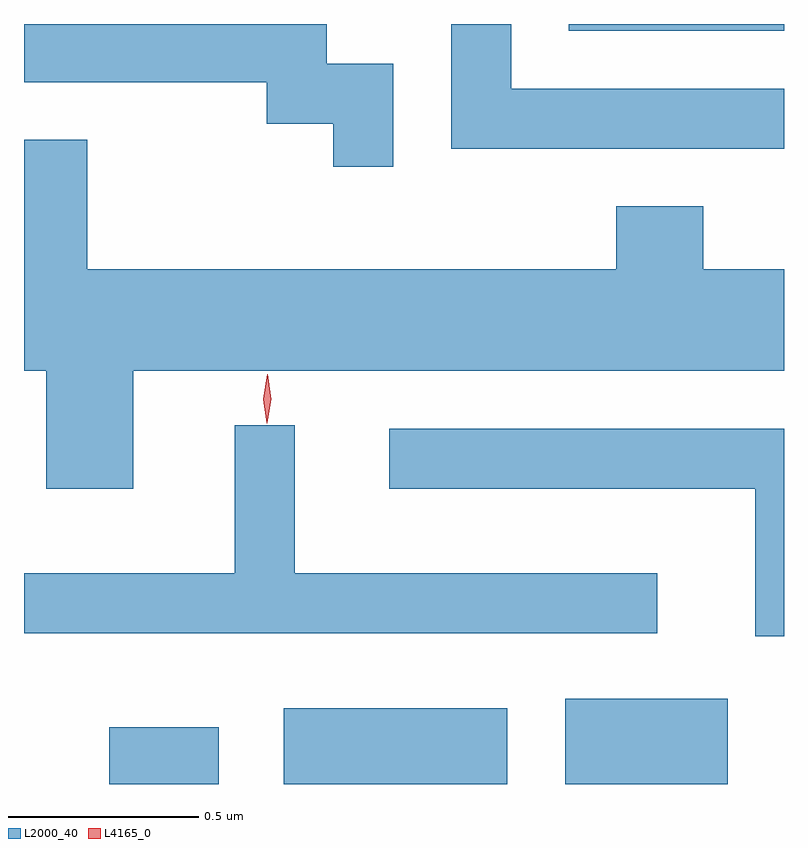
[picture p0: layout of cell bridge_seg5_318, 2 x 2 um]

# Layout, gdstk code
import gdstk
lib = gdstk.Library(unit=1e-6, precision=1e-09)
def R(c, l, rs):  # rectangles x0, y0, x1, y1
    for r in rs: c.add(gdstk.rectangle(r[:2], r[2:], *l))
def P(c, l, *ps):  # polygons
    for p in ps: c.add(gdstk.Polygon(p, *l))
L2000_40 = (2000, 40)
L4165_0 = (4165, 0)

bridge_seg5_318 = lib.new_cell('bridge_seg5_318')
R(bridge_seg5_318, L2000_40, [(730.246,1504.549,730.534,1504.699), (730.706,1504.549,731.294,1504.749), (731.446,1504.549,731.874,1504.774), (731.456,1506.531,732.022,1506.549)])
P(bridge_seg5_318, L2000_40, [(730.994,1506.444),(730.819,1506.444),(730.819,1506.549),(730.022,1506.549),(730.022,1506.396),(730.661,1506.396),(730.661,1506.286),(730.836,1506.286),(730.836,1506.173),(730.994,1506.173)],
  [(732.022,1506.379),(731.304,1506.379),(731.304,1506.549),(731.146,1506.549),(731.146,1506.221),(732.022,1506.221)],
  [(730.309,1505.636),(732.022,1505.636),(732.022,1505.904),(731.809,1505.904),(731.809,1506.069),(731.581,1506.069),(731.581,1505.904),(730.189,1505.904),(730.189,1506.244),(730.022,1506.244),(730.022,1505.636),(730.081,1505.636),(730.081,1505.326),(730.309,1505.326)],
  [(731.688,1505.104),(730.734,1505.104),(730.734,1505.493),(730.576,1505.493),(730.576,1505.104),(730.022,1505.104),(730.022,1504.946),(731.688,1504.946)],
  [(732.022,1505.484),(730.983,1505.484),(730.983,1505.326),(731.946,1505.326),(731.946,1504.938),(732.022,1504.938)])
P(bridge_seg5_318, L4165_0, [(730.661,1505.498),(730.661,1505.498),(730.652,1505.562),(730.662,1505.627),(730.662,1505.627),(730.663,1505.627),(730.672,1505.562),(730.662,1505.498)])

lib.write_gds('bridge_seg5_318.gds')
